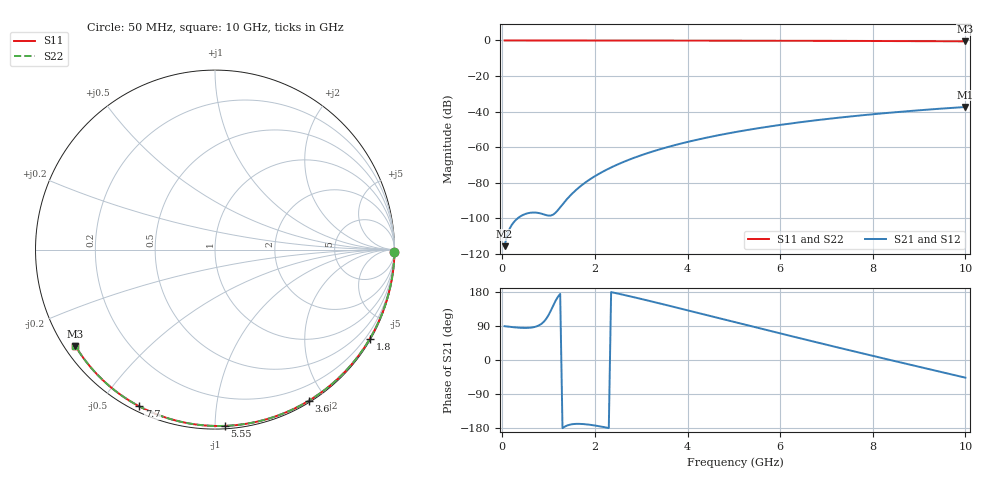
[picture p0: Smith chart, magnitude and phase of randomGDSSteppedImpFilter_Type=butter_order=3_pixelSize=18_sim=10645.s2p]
! freq	dB(S11)	phase(S11)	dB(S12)	phase(S12)
!  dB(S21)	phase(S21)	dB(S22)	phase(S22)
!S-par simulation data
#  GHz  S  DB  R 50
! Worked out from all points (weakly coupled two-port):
!   200 points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, 50 MHz to 10 GHz, reference 50 ohm
!   highest |S21| = -37.41 dB at 10 GHz (marker M1); lowest = -115.7 dB at 50 MHz (marker M2)
!   lowest |S11| = -0.5 dB at 10 GHz (marker M3), VSWR 35.37, Z = 1.55 - j15.6 ohm
!   |S11| at or under -10 dB: nowhere
!   |S22| runs from -0.5 to 0.0 dB; largest |S21 - S12| = 0
!   S11 on the Smith chart (normalised r, x): 50 MHz: open; 1.8 GHz: 0.03, -3.75; 3.6 GHz: 0.02, -1.79; 5.55 GHz: 0.02, -1.06; 7.7 GHz: 0.02, -0.63; 10 GHz: 0.03, -0.31
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0.05  -0.00 -0.8  -115.67 89.2  -115.67 89.2  -0.00 -0.8
0.45  -0.01 -7.6  -98.08 84.6  -98.08 84.6  -0.01 -7.6
0.9  -0.02 -15.1  -97.83 101.4  -97.83 101.4  -0.02 -15.1
1.3  -0.03 -21.7  -92.20 -179.8  -92.20 -179.8  -0.03 -21.7
1.75  -0.04 -29.1  -80.70 -169.1  -80.70 -169.1  -0.04 -29.1
1.8  -0.04 -29.9  -79.74 -169.6  -79.74 -169.6  -0.04 -29.9
1.95  -0.04 -32.3  -77.11 -171.9  -77.11 -171.9  -0.04 -32.3
2.1  -0.04 -34.7  -74.79 -174.9  -74.79 -174.9  -0.04 -34.7
2.3  -0.05 -37.9  -72.04 -179.6  -72.04 -179.6  -0.05 -38.0
2.5  -0.05 -41.1  -69.61 175.2  -69.61 175.2  -0.05 -41.2
2.9  -0.06 -47.4  -65.46 164.0  -65.46 164.0  -0.06 -47.5
3.4  -0.07 -55.2  -61.21 149.3  -61.21 149.3  -0.07 -55.2
3.6  -0.08 -58.3  -59.73 143.3  -59.73 143.3  -0.08 -58.3
4.3  -0.10 -68.8  -55.28 122.0  -55.28 122.0  -0.10 -68.8
5.05  -0.12 -79.7  -51.42 99.1  -51.42 99.1  -0.12 -79.7
5.55  -0.14 -86.8  -49.25 83.9  -49.25 83.9  -0.14 -86.8
6.1  -0.17 -94.4  -47.14 67.2  -47.14 67.2  -0.17 -94.5
6.7  -0.20 -102.6  -45.11 49.2  -45.11 49.2  -0.20 -102.6
7.7  -0.27 -115.8  -42.25 19.7  -42.25 19.7  -0.27 -115.8
8.35  -0.32 -124.2  -40.66 0.8  -40.66 0.8  -0.32 -124.3
9.2  -0.40 -135.1  -38.86 -23.7  -38.86 -23.7  -0.40 -135.2
10  -0.49 -145.4  -37.41 -46.6  -37.41 -46.6  -0.49 -145.5
